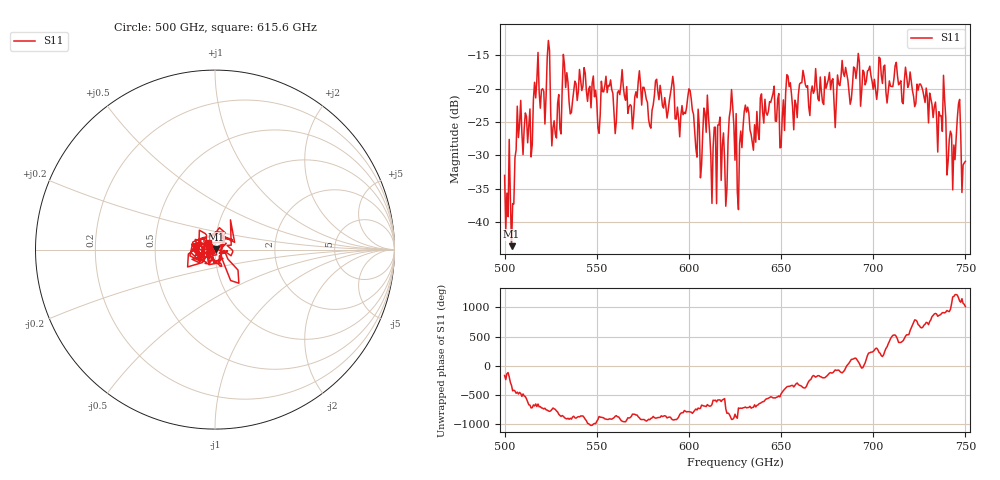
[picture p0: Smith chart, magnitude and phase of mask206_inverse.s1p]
!Created with skrf (http://scikit-rf.org).
# GHz S MA R 50.0
!freq magS11 angS11
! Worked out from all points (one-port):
!   401 points, 500 GHz to 750 GHz, reference 50 ohm
!   lowest |S11| = -43.6 dB at 503.8 GHz (marker M1), VSWR 1.01, Z = 50.6 + j0.253 ohm
!   |S11| at or under -10 dB: start of sweep to end of sweep
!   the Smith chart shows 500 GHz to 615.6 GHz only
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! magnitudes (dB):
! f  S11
! 500 GHz  -33.0
! 503.8 GHz  -43.6
! 507.5 GHz  -27.3
! 513.8 GHz  -23.0
! 516.9 GHz  -21.4
! 523.8 GHz  -12.8
! 526.9 GHz  -24.8
! 531.2 GHz  -19.9
! 562.5 GHz  -20.9
! 579.4 GHz  -25.9
! 590.6 GHz  -19.6
! 593.8 GHz  -22.8
! 600.6 GHz  -20.3
! 605.6 GHz  -25.7
! 609.4 GHz  -26.5
! 619.4 GHz  -30.7
! 622.5 GHz  -23.1
! 625 GHz  -30.7
! 627.5 GHz  -28.2
! 631.2 GHz  -23.5
! 635 GHz  -29.2
! 656.2 GHz  -22.8
! 687.5 GHz  -22.3
! 718.8 GHz  -19.8
! 738.1 GHz  -18.0
! 741.9 GHz  -26.4
! 746.2 GHz  -22.3
! 750 GHz  -30.9
